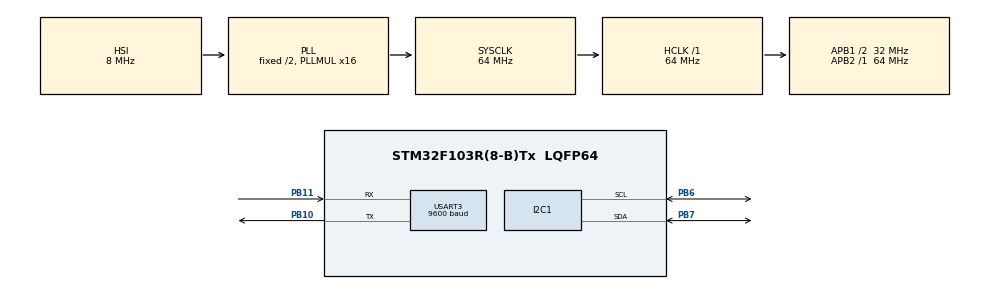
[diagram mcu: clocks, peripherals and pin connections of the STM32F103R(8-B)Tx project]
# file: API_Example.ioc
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Mcu.Family=STM32F1
PC15-OSC32_OUT.Mode=LSE-External-Oscillator
PD1-OSC_OUT.Mode=HSE-External-Clock-Source
PB10.Mode=Asynchronous
PD0-OSC_IN.Signal=RCC_OSC_IN
RCC.APB1CLKDivider=RCC_HCLK_DIV2
PC14-OSC32_IN.Signal=RCC_OSC32_IN
PB11.Signal=USART3_RX
VP_SYS_VS_ND.Mode=No_Debug
RCC.SYSCLKSource=RCC_SYSCLKSOURCE_PLLCLK
ProjectManager.StackSize=0x400
PD1-OSC_OUT.Signal=RCC_OSC_OUT
USART3.BaudRate=9600
PB11.Mode=Asynchronous
ProjectManager.TargetToolchain=STM32CubeIDE
RCC.HCLKFreq_Value=64000000
RCC.APB2TimFreq_Value=64000000
PB6.Signal=I2C1_SCL
PB6.Mode=I2C
RCC.USBFreq_Value=64000000
PC15-OSC32_OUT.Signal=RCC_OSC32_OUT
RCC.AHBFreq_Value=64000000
PD0-OSC_IN.Mode=HSE-External-Clock-Source
PB10.Signal=USART3_TX
board=custom
RCC.PLLMUL=RCC_PLL_MUL16
RCC.APB2Freq_Value=64000000
PC14-OSC32_IN.Mode=LSE-External-Oscillator
PB7.Signal=I2C1_SDA
Mcu.Name=STM32F103R(8-B)Tx
RCC.SYSCLKFreq_VALUE=64000000
Mcu.Package=LQFP64
USART3.VirtualMode=VM_ASYNC
PB7.Mode=I2C
ProjectManager.HeapSize=0x200
NVIC.PriorityGroup=NVIC_PRIORITYGROUP_4
RCC.APB1TimFreq_Value=64000000
RCC.APB1Freq_Value=32000000

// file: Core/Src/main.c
/* USER CODE BEGIN Header */
/**
  ******************************************************************************
  * @file           : main.c
  * @brief          : Main program body
  ******************************************************************************
  * @attention
  *
  * <h2><center>&copy; Copyright (c) 2022 STMicroelectronics.
  * All rights reserved.</center></h2>
  *
  * This software component is licensed by ST under BSD 3-Clause license,
  * the "License"; You may not use this file except in compliance with the
  * License. You may obtain a copy of the License at:
  *                        opensource.org/licenses/BSD-3-Clause
  *
  ******************************************************************************
  */
/* USER CODE END Header */
#include "main.h"

/* USER CODE BEGIN Includes */
#include <string.h>
#include <stdlib.h>
#include "HMC5883L.h"
/* USER CODE END Includes */

I2C_HandleTypeDef hi2c1;

UART_HandleTypeDef huart3;

void SystemClock_Config(void);
static void MX_GPIO_Init(void);
static void MX_I2C1_Init(void);
static void MX_USART3_UART_Init(void);
/* USER CODE BEGIN PFP */
static void UART_TransmitMessage(char *);
/* USER CODE END PFP */

/* USER CODE BEGIN 0 */
char eixoX[] = "X: ";
char eixoY[] = " Y: ";
char eixoZ[] = " Z: ";
char quebra[] = "\r\n";
uint8_t caractere[1];
uint16_t buffer[7];
int16_t *mx, *my, *mz;
/* USER CODE END 0 */

int main(void)
{

  /* MCU Configuration--------------------------------------------------------*/

  /* Reset of all peripherals, Initializes the Flash interface and the Systick. */
  HAL_Init();

  /* Configure the system clock */
  SystemClock_Config();

  /* Initialize all configured peripherals */
  MX_GPIO_Init();
  MX_I2C1_Init();
  MX_USART3_UART_Init();
  /* USER CODE BEGIN 2 */
  if (HAL_I2C_IsDeviceReady(&hi2c1, HMC5883L_ADDRESS, 1, 20000) != HAL_OK){
	  UART_TransmitMessage("I2C ERROR \r\n");
  }
  else{
	  UART_TransmitMessage("I2C OK \r\n");
  }
  HMC5883L_initialize(&hi2c1);
  /* USER CODE END 2 */

  /* Infinite loop */
  /* USER CODE BEGIN WHILE */
  while (1)
  {
	  HMC5883L_measurement(mx, my, mz);
	  UART_TransmitMessage("Eixo X: ");
	  UART_TransmitMessage((char *)mx);
	  UART_TransmitMessage(" Eixo Y: ");
	  UART_TransmitMessage((char *)my);
	  UART_TransmitMessage(" Eixo Z: ");
	  UART_TransmitMessage((char *)mz);
	  UART_TransmitMessage("\r\n");
	  HAL_Delay(500);

    /* USER CODE END WHILE */

  }
}

void SystemClock_Config(void)
{
  RCC_OscInitTypeDef RCC_OscInitStruct = {0};
  RCC_ClkInitTypeDef RCC_ClkInitStruct = {0};

  /** Initializes the RCC Oscillators according to the specified parameters
  * in the RCC_OscInitTypeDef structure.
  */
  RCC_OscInitStruct.OscillatorType = RCC_OSCILLATORTYPE_HSI;
  RCC_OscInitStruct.HSIState = RCC_HSI_ON;
  RCC_OscInitStruct.HSICalibrationValue = RCC_HSICALIBRATION_DEFAULT;
  RCC_OscInitStruct.PLL.PLLState = RCC_PLL_ON;
  RCC_OscInitStruct.PLL.PLLSource = RCC_PLLSOURCE_HSI_DIV2;
  RCC_OscInitStruct.PLL.PLLMUL = RCC_PLL_MUL16;
  if (HAL_RCC_OscConfig(&RCC_OscInitStruct) != HAL_OK)
  {
    Error_Handler();
  }
  /** Initializes the CPU, AHB and APB buses clocks
  */
  RCC_ClkInitStruct.ClockType = RCC_CLOCKTYPE_HCLK|RCC_CLOCKTYPE_SYSCLK
                              |RCC_CLOCKTYPE_PCLK1|RCC_CLOCKTYPE_PCLK2;
  RCC_ClkInitStruct.SYSCLKSource = RCC_SYSCLKSOURCE_PLLCLK;
  RCC_ClkInitStruct.AHBCLKDivider = RCC_SYSCLK_DIV1;
  RCC_ClkInitStruct.APB1CLKDivider = RCC_HCLK_DIV2;
  RCC_ClkInitStruct.APB2CLKDivider = RCC_HCLK_DIV1;

  if (HAL_RCC_ClockConfig(&RCC_ClkInitStruct, FLASH_LATENCY_2) != HAL_OK)
  {
    Error_Handler();
  }
}

static void MX_I2C1_Init(void)
{

  hi2c1.Instance = I2C1;
  hi2c1.Init.ClockSpeed = 100000;
  hi2c1.Init.DutyCycle = I2C_DUTYCYCLE_2;
  hi2c1.Init.OwnAddress1 = 0;
  hi2c1.Init.AddressingMode = I2C_ADDRESSINGMODE_7BIT;
  hi2c1.Init.DualAddressMode = I2C_DUALADDRESS_DISABLE;
  hi2c1.Init.OwnAddress2 = 0;
  hi2c1.Init.GeneralCallMode = I2C_GENERALCALL_DISABLE;
  hi2c1.Init.NoStretchMode = I2C_NOSTRETCH_DISABLE;
  if (HAL_I2C_Init(&hi2c1) != HAL_OK)
  {
    Error_Handler();
  }

}

static void MX_USART3_UART_Init(void)
{

  huart3.Instance = USART3;
  huart3.Init.BaudRate = 9600;
  huart3.Init.WordLength = UART_WORDLENGTH_8B;
  huart3.Init.StopBits = UART_STOPBITS_1;
  huart3.Init.Parity = UART_PARITY_NONE;
  huart3.Init.Mode = UART_MODE_TX_RX;
  huart3.Init.HwFlowCtl = UART_HWCONTROL_NONE;
  huart3.Init.OverSampling = UART_OVERSAMPLING_16;
  if (HAL_UART_Init(&huart3) != HAL_OK)
  {
    Error_Handler();
  }

}

static void MX_GPIO_Init(void)
{

  /* GPIO Ports Clock Enable */
  __HAL_RCC_GPIOC_CLK_ENABLE();
  __HAL_RCC_GPIOD_CLK_ENABLE();
  __HAL_RCC_GPIOB_CLK_ENABLE();

}

/* USER CODE BEGIN 4 */
void UART_TransmitMessage(char *message)
{
    HAL_UART_Transmit(&huart3, (uint8_t*)message, strlen(message), 1000);
}
/* USER CODE END 4 */

void Error_Handler(void)
{
  __disable_irq();
  while (1)
  {
  }
}

/************************ (C) COPYRIGHT STMicroelectronics *****END OF FILE****/
